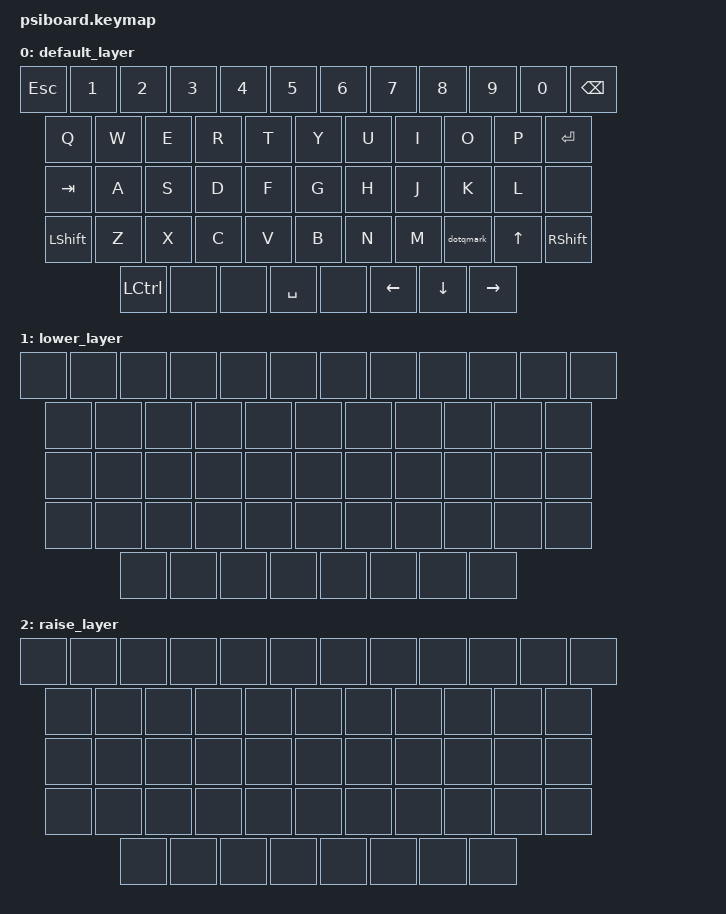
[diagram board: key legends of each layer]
#include <behaviors.dtsi>
#include <dt-bindings/zmk/bt.h>
#include <dt-bindings/zmk/keys.h>

#define LOWER 1
#define RAISE 2

/ {

    behaviors {

        dotqmark: dot_question {
            compatible = "zmk,behavior-mod-morph";
            label = "DOT_QUESTION";
            #binding-cells = <0>;
            bindings = <&kp DOT>, <&kp QUESTION>;
            mods = <(MOD_LSFT|MOD_RSFT)>;
        };

        commaslash: comma_slash {
            compatible = "zmk,behavior-mod-morph";
            label = "COMMA_SLASH";
            #binding-cells = <0>;
            bindings = <&kp COMMA>, <&kp SLASH>;
            mods = <(MOD_LSFT|MOD_RSFT)>;
        };

    };

    keymap {
        compatible = "zmk,keymap";

        default_layer {

            bindings = <

              &kp ESC   &kp N1    &kp N2    &kp N3    &kp N4    &kp N5    &kp N6    &kp N7    &kp N8    &kp N9    &kp N0    &kp BSPC

                   &kp Q     &kp W     &kp E     &kp R     &kp T     &kp Y     &kp U     &kp I     &kp O     &kp P     &kp RET

              &kp TAB   &kp A     &kp S     &kp D     &kp F     &kp G     &kp H     &kp J     &kp K     &kp L     &none

                   &kp LSHFT &kp Z     &kp X     &kp C     &kp V     &kp B     &kp N     &kp M     &dotqmark &kp UP    &kp RSHFT

                   &kp LCTRL &none     &none                     &kp SPACE               &none     &kp LEFT  &kp DOWN  &kp RIGHT

            >;

        };

        lower_layer {

            bindings = <

              &none     &none     &none     &none     &none     &none     &none     &none     &none     &none     &none     &none

                   &none     &none     &none     &none     &none     &none     &none     &none     &none     &none     &none

              &none     &none     &none     &none     &none     &none     &none     &none     &none     &none     &none

                   &none     &none     &none     &none     &none     &none     &none     &none     &none     &none     &none

                   &none     &none     &none                     &none                   &none     &none     &none     &none
            >;

        };

        raise_layer {

            bindings = <
              &none     &none     &none     &none     &none     &none     &none     &none     &none     &none     &none     &none

                   &none     &none     &none     &none     &none     &none     &none     &none     &none     &none     &none

              &none     &none     &none     &none     &none     &none     &none     &none     &none     &none     &none

                   &none     &none     &none     &none     &none     &none     &none     &none     &none     &none     &none

                   &none     &none     &none                     &none                   &none     &none     &none     &none
            >;

        };

    };
};
